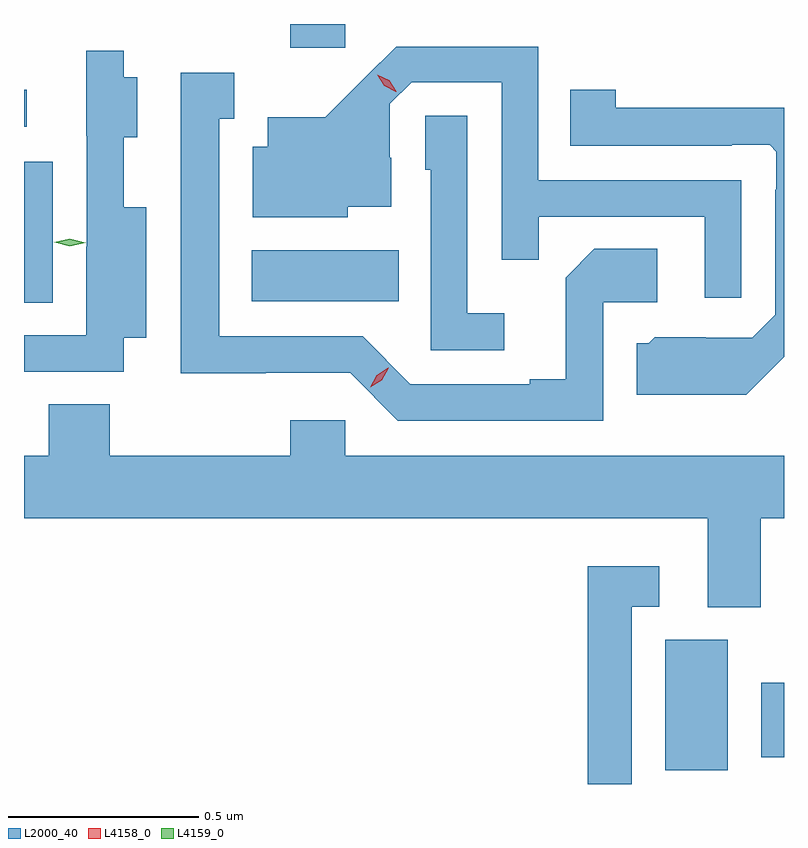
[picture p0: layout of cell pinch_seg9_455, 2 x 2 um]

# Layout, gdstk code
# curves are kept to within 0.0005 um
import gdstk
lib = gdstk.Library(unit=1e-6, precision=1e-09)
def R(c, l, rs):  # rectangles x0, y0, x1, y1
    for r in rs: c.add(gdstk.rectangle(r[:2], r[2:], *l))
def P(c, l, *ps):  # polygons
    for p in ps: c.add(gdstk.Polygon(p, *l))
L2000_40 = (2000, 40)
L4158_0 = (4158, 0)
L4159_0 = (4159, 0)

pinch_seg9_455 = lib.new_cell('pinch_seg9_455')
R(pinch_seg9_455, L2000_40, [(247.46,1218.4,247.624,1218.744), (247.712,1218.435,247.772,1218.631), (245.772,1219.63,245.848,1220.001), (246.371,1219.634,246.758,1219.768), (245.772,1220.094,245.779,1220.191), (246.472,1220.301,246.618,1220.364)])
P(pinch_seg9_455, L2000_40, [(247.659,1219.953),(247.125,1219.953),(247.125,1220.304),(246.752,1220.304),(246.565,1220.119),(246.413,1220.119),(246.413,1220.041),(246.374,1220.041),(246.374,1219.856),(246.624,1219.856),(246.624,1219.883),(246.739,1219.883),(246.739,1220.012),(246.735,1220.012),(246.735,1220.154),(246.792,1220.211),(247.029,1220.211),(247.029,1219.744),(247.127,1219.744),(247.127,1219.857),(247.563,1219.857),(247.563,1219.644),(247.659,1219.644)],
  [(246.034,1219.538),(246.094,1219.538),(246.094,1219.882),(246.034,1219.882),(246.034,1220.066),(246.07,1220.066),(246.07,1220.224),(246.034,1220.224),(246.034,1220.293),(245.936,1220.293),(245.936,1220.07),(245.937,1220.07),(245.937,1219.778),(245.936,1219.778),(245.936,1219.545),(245.772,1219.545),(245.772,1219.449),(246.034,1219.449)],
  [(247.296,1219.632),(247.438,1219.632),(247.438,1219.772),(247.273,1219.772),(247.197,1219.696),(247.197,1219.429),(247.103,1219.429),(247.103,1219.416),(246.789,1219.416),(246.663,1219.542),(246.286,1219.542),(246.286,1220.115),(246.325,1220.115),(246.325,1220.236),(246.185,1220.236),(246.185,1219.445),(246.408,1219.445),(246.408,1219.446),(246.63,1219.446),(246.756,1219.32),(247.296,1219.32)],
  [(247.753,1219.469),(247.772,1219.488),(247.772,1220.143),(247.685,1220.143),(247.685,1220.144),(247.329,1220.144),(247.329,1220.191),(247.21,1220.191),(247.21,1220.043),(247.634,1220.043),(247.634,1220.046),(247.734,1220.046),(247.752,1220.028),(247.752,1219.928),(247.749,1219.928),(247.749,1219.599),(247.689,1219.539),(247.566,1219.539),(247.566,1219.54),(247.432,1219.54),(247.416,1219.524),(247.385,1219.524),(247.385,1219.388),(247.673,1219.388)],
  [(247.036,1219.603),(246.939,1219.603),(246.939,1220.123),(246.828,1220.123),(246.828,1219.98),(246.843,1219.98),(246.843,1219.506),(247.036,1219.506)],
  [(247.711,1219.064),(247.772,1219.064),(247.772,1219.228),(246.618,1219.228),(246.618,1219.321),(246.472,1219.321),(246.472,1219.228),(245.997,1219.228),(245.997,1219.364),(245.837,1219.364),(245.837,1219.228),(245.772,1219.228),(245.772,1219.064),(247.571,1219.064),(247.571,1218.829),(247.711,1218.829)],
  [(247.371,1218.831),(247.444,1218.831),(247.444,1218.937),(247.255,1218.937),(247.255,1218.364),(247.371,1218.364)])
P(pinch_seg9_455, L4158_0, [(246.75,1220.186),(246.72,1220.201),(246.702,1220.23),(246.702,1220.23),(246.702,1220.23),(246.733,1220.216),(246.751,1220.187),(246.751,1220.186)],
  [(246.683,1219.408),(246.683,1219.408),(246.7,1219.44),(246.731,1219.46),(246.732,1219.46),(246.732,1219.459),(246.714,1219.427),(246.683,1219.408)])
P(pinch_seg9_455, L4159_0, [(245.892,1219.779),(245.852,1219.79),(245.851,1219.79),(245.852,1219.79),(245.893,1219.799),(245.934,1219.788),(245.934,1219.788),(245.934,1219.788)])

lib.write_gds('pinch_seg9_455.gds')
